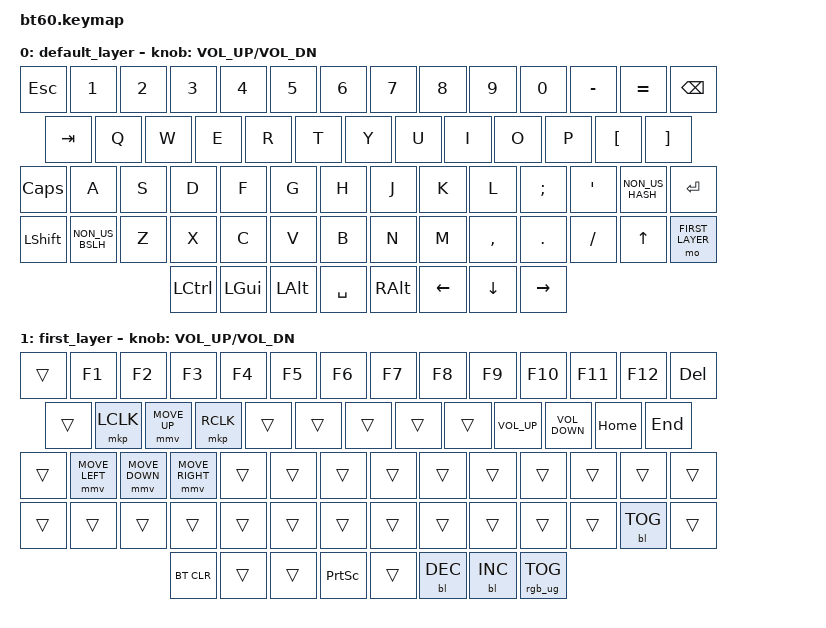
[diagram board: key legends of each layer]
#include <behaviors.dtsi>
#include <dt-bindings/zmk/keys.h>
#include <dt-bindings/zmk/bt.h>
#include <dt-bindings/zmk/rgb.h>
#include <dt-bindings/zmk/backlight.h>
#include <dt-bindings/zmk/pointing.h>

#define DEFAULT 0
#define FIRST_LAYER 1

&kscan0 {
    debounce-press-ms = <10>;
	debounce-release-ms = <5>;
};

/ {
	keymap {
		compatible = "zmk,keymap";

		default_layer {
				// ------------------------------------------------------------------------------------------
				// |  `  |  1  |  2  |  3  |  4  |  5  |  6  |  7  |  8  |  9  |  0  |  -  |  =  |   BKSP
				// | TAB  |  Q  |  W  |  E  |  R  |  T  |  Y  |  U  |  I  |  O  |  P  |  [  |  ]  |        |
				// | CAPS  |  A  |  S  |  D  |  F  |  G  |  H  |  J  |  K  |  L  |  ;  |  '  |  #  | ENTER |
				// |  SHIFT|  \ |  Z  |  X  |  C  |  V  |  B  |  N  |  M  |  ,  |  .  | /   |    SHIFT    |
				// |  CTL  |  WIN  |  ALT  |            SPACE               | ALT | 1    |  MENU    |  CTRL|
				// ------------------------------------------------------------------------------------------
			bindings = <
				&kp ESC  &kp N1  &kp N2  &kp N3  &kp N4  &kp N5  &kp N6  &kp N7  &kp N8  &kp N9  &kp N0  &kp MINUS  &kp EQUAL  &kp BSPC
				&kp TAB  &kp Q  &kp W  &kp E  &kp R  &kp T  &kp Y  &kp U  &kp I  &kp O  &kp P  &kp LBKT  &kp RBKT
				&kp CAPS  &kp A  &kp S  &kp D  &kp F  &kp G  &kp H  &kp J  &kp K  &kp L  &kp SEMI  &kp SQT  &kp NON_US_HASH  &kp RET
				&kp LSHFT  &kp NON_US_BSLH  &kp Z  &kp X  &kp C  &kp V  &kp B  &kp N  &kp M  &kp COMMA  &kp DOT  &kp FSLH  &kp UP_ARROW  &mo FIRST_LAYER
				&kp LCTRL  &kp LGUI  &kp LALT  &kp SPACE  &kp RALT  &kp LEFT_ARROW  &kp DOWN_ARROW  &kp RIGHT_ARROW
			>;
			sensor-bindings = <&inc_dec_kp C_VOL_UP C_VOL_DN>;
		};
		first_layer {
			bindings = <
				&trans  &kp F1  &kp F2  &kp F3  &kp F4  &kp F5  &kp F6  &kp F7  &kp F8  &kp F9  &kp F10  &kp F11  &kp F12  &kp DEL
				&trans  &mkp LCLK  &mmv MOVE_UP  &mkp RCLK  &trans  &trans  &trans  &trans  &trans  &kp K_VOL_UP  &kp K_VOLUME_DOWN  &kp HOME  &kp END
				&trans  &mmv MOVE_LEFT  &mmv MOVE_DOWN  &mmv MOVE_RIGHT  &trans  &trans  &trans  &trans  &trans  &trans  &trans  &trans  &trans  &trans
				&trans  &trans  &trans  &trans  &trans  &trans  &trans  &trans  &trans  &trans  &trans  &trans  &bl BL_TOG  &trans
				&bt BT_CLR  &trans  &trans  &kp PRINTSCREEN  &trans  &bl BL_DEC  &bl BL_INC  &rgb_ug RGB_TOG
			>;
			sensor-bindings = <&inc_dec_kp C_VOL_UP C_VOL_DN>;
		};
	};
};
